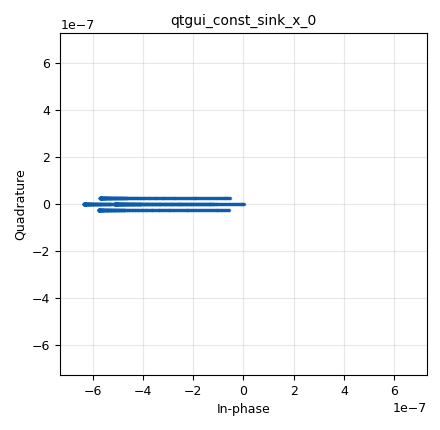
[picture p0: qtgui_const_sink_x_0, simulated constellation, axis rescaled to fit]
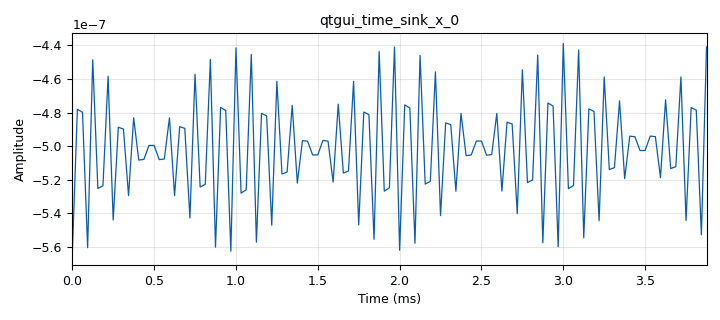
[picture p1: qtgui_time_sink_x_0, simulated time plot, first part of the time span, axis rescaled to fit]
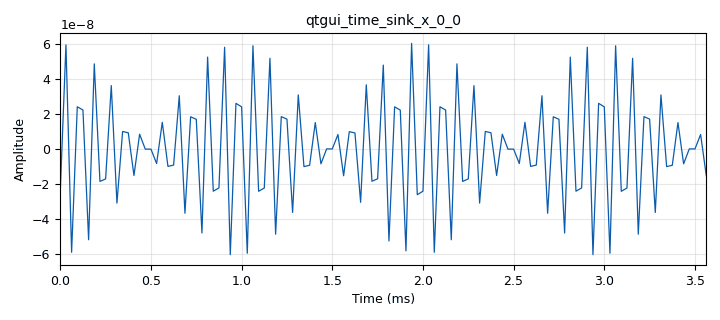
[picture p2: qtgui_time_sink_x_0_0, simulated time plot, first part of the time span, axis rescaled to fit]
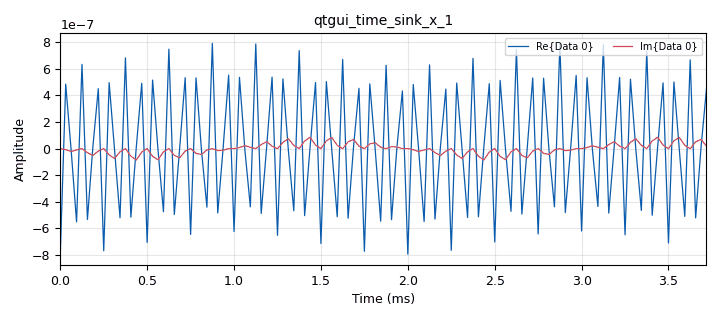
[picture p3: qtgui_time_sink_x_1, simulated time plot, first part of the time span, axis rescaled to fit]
options:
  parameters:
    generate_options: qt_gui
    id: mod_qam
    output_language: python
    title: Not titled yet
  states: {}

blocks:
- name: freq
  id: variable
  parameters:
    value: '20000'
  states: {}
- name: samp_rate
  id: variable
  parameters:
    value: '32000'
  states: {}
- name: analog_sig_source_x_0
  id: analog_sig_source_x
  parameters:
    amp: '-1.4142'
    freq: freq
    offset: '0'
    phase: '0'
    samp_rate: samp_rate
    type: float
    waveform: analog.GR_SIN_WAVE
  states: {}
- name: analog_sig_source_x_0_0
  id: analog_sig_source_x
  parameters:
    amp: '1.4142'
    freq: freq
    offset: '0'
    phase: '0'
    samp_rate: samp_rate
    type: float
    waveform: analog.GR_COS_WAVE
  states: {}
- name: analog_sig_source_x_0_0_0
  id: analog_sig_source_x
  parameters:
    amp: '1.4142'
    freq: freq
    offset: '0'
    phase: '0'
    samp_rate: samp_rate
    type: float
    waveform: analog.GR_COS_WAVE
  states: {}
- name: analog_sig_source_x_0_1
  id: analog_sig_source_x
  parameters:
    amp: '-1.4142'
    freq: freq
    offset: '0'
    phase: '0'
    samp_rate: samp_rate
    type: float
    waveform: analog.GR_SIN_WAVE
  states: {}
- name: analog_sig_source_x_1
  id: analog_sig_source_x
  parameters:
    amp: '1'
    freq: '500'
    offset: '0'
    phase: '0'
    samp_rate: samp_rate
    type: complex
    waveform: analog.GR_SIN_WAVE
  states: {}
- name: blocks_complex_to_float_0
  id: blocks_complex_to_float
  parameters: {}
  states: {}
- name: blocks_float_to_complex_0
  id: blocks_float_to_complex
  parameters: {}
  states: {}
- name: blocks_float_to_complex_0_0
  id: blocks_float_to_complex
  parameters: {}
  states: {}
- name: blocks_keep_one_in_n_0
  id: blocks_keep_one_in_n
  parameters:
    n: '16'
    type: float
  states: {}
- name: blocks_keep_one_in_n_0_0
  id: blocks_keep_one_in_n
  parameters:
    n: '16'
    type: float
  states: {}
- name: blocks_multiply_xx_0
  id: blocks_multiply_xx
  parameters:
    type: float
  states: {}
- name: blocks_multiply_xx_0_0
  id: blocks_multiply_xx
  parameters:
    type: float
  states: {}
- name: blocks_multiply_xx_0_0_0
  id: blocks_multiply_xx
  parameters:
    type: float
  states: {}
- name: blocks_multiply_xx_0_0_0_1
  id: blocks_multiply_xx
  parameters:
    type: float
  states: {}
- name: blocks_skiphead_0
  id: blocks_skiphead
  parameters:
    num_items: '1'
    type: float
  states: {}
- name: blocks_skiphead_0_0
  id: blocks_skiphead
  parameters:
    num_items: '1'
    type: float
  states: {}
- name: qtgui_const_sink_x_0
  id: qtgui_const_sink_x
  parameters:
    size: '1024'
    type: complex
  states: {}
- name: qtgui_time_sink_x_0
  id: qtgui_time_sink_x
  parameters:
    size: '1024'
    srate: samp_rate
    type: float
  states: {}
- name: qtgui_time_sink_x_0_0
  id: qtgui_time_sink_x
  parameters:
    size: '1024'
    srate: samp_rate
    type: float
  states: {}
- name: qtgui_time_sink_x_1
  id: qtgui_time_sink_x
  parameters:
    size: '1024'
    srate: samp_rate
    type: complex
  states: {}
- name: root_raised_cosine_filter_0
  id: root_raised_cosine_filter
  parameters:
    alpha: '0.35'
    decim: '1'
    gain: '1'
    ntaps: 11*samp_rate
    samp_rate: samp_rate
    sym_rate: '1.0'
    type: fir_filter_fff
  states: {}
- name: root_raised_cosine_filter_0_0
  id: root_raised_cosine_filter
  parameters:
    alpha: '0.35'
    decim: '1'
    gain: '1'
    ntaps: 11*samp_rate
    samp_rate: samp_rate
    sym_rate: '1.0'
    type: fir_filter_fff
  states: {}
- name: virtual_sink_0
  id: virtual_sink
  parameters:
    stream_id: imagOutVS
  states: {}
- name: virtual_sink_0_0
  id: virtual_sink
  parameters:
    stream_id: realOutVS
  states: {}
- name: virtual_sink_0_0_0
  id: virtual_sink
  parameters:
    stream_id: signalVS
  states: {}
- name: virtual_sink_1
  id: virtual_sink
  parameters:
    stream_id: realOutFilterVS
  states: {}
- name: virtual_sink_1_0
  id: virtual_sink
  parameters:
    stream_id: imagOutFilterVS
  states: {}
- name: virtual_source_0
  id: virtual_source
  parameters:
    stream_id: signalVS
  states: {}
- name: virtual_source_1
  id: virtual_source
  parameters:
    stream_id: realOutVS
  states: {}
- name: virtual_source_1_0
  id: virtual_source
  parameters:
    stream_id: imagOutVS
  states: {}
- name: virtual_source_2
  id: virtual_source
  parameters:
    stream_id: realOutFilterVS
  states: {}
- name: virtual_source_3
  id: virtual_source
  parameters:
    stream_id: imagOutFilterVS
  states: {}

connections:
- [analog_sig_source_x_0, '0', blocks_multiply_xx_0_0, '1']
- [analog_sig_source_x_0_0, '0', blocks_multiply_xx_0, '0']
- [analog_sig_source_x_0_0_0, '0', blocks_multiply_xx_0_0_0, '0']
- [analog_sig_source_x_0_1, '0', blocks_multiply_xx_0_0_0_1, '1']
- [analog_sig_source_x_1, '0', virtual_sink_0_0_0, '0']
- [blocks_complex_to_float_0, '0', blocks_multiply_xx_0, '1']
- [blocks_complex_to_float_0, '1', blocks_multiply_xx_0_0, '0']
- [blocks_float_to_complex_0, '0', qtgui_time_sink_x_1, '0']
- [blocks_float_to_complex_0_0, '0', qtgui_const_sink_x_0, '0']
- [blocks_keep_one_in_n_0, '0', blocks_float_to_complex_0_0, '0']
- [blocks_keep_one_in_n_0_0, '0', blocks_float_to_complex_0_0, '1']
- [blocks_multiply_xx_0, '0', virtual_sink_0_0, '0']
- [blocks_multiply_xx_0_0, '0', virtual_sink_0, '0']
- [blocks_multiply_xx_0_0_0, '0', blocks_float_to_complex_0, '0']
- [blocks_multiply_xx_0_0_0_1, '0', blocks_float_to_complex_0, '1']
- [blocks_skiphead_0, '0', blocks_keep_one_in_n_0, '0']
- [blocks_skiphead_0_0, '0', blocks_keep_one_in_n_0_0, '0']
- [root_raised_cosine_filter_0, '0', blocks_multiply_xx_0_0_0, '1']
- [root_raised_cosine_filter_0, '0', qtgui_time_sink_x_0, '0']
- [root_raised_cosine_filter_0, '0', virtual_sink_1, '0']
- [root_raised_cosine_filter_0_0, '0', blocks_multiply_xx_0_0_0_1, '0']
- [root_raised_cosine_filter_0_0, '0', qtgui_time_sink_x_0_0, '0']
- [root_raised_cosine_filter_0_0, '0', virtual_sink_1_0, '0']
- [virtual_source_0, '0', blocks_complex_to_float_0, '0']
- [virtual_source_1, '0', root_raised_cosine_filter_0, '0']
- [virtual_source_1_0, '0', root_raised_cosine_filter_0_0, '0']
- [virtual_source_2, '0', blocks_skiphead_0, '0']
- [virtual_source_3, '0', blocks_skiphead_0_0, '0']

metadata:
  file_format: 1
  grc_version: 3.10.12.0
